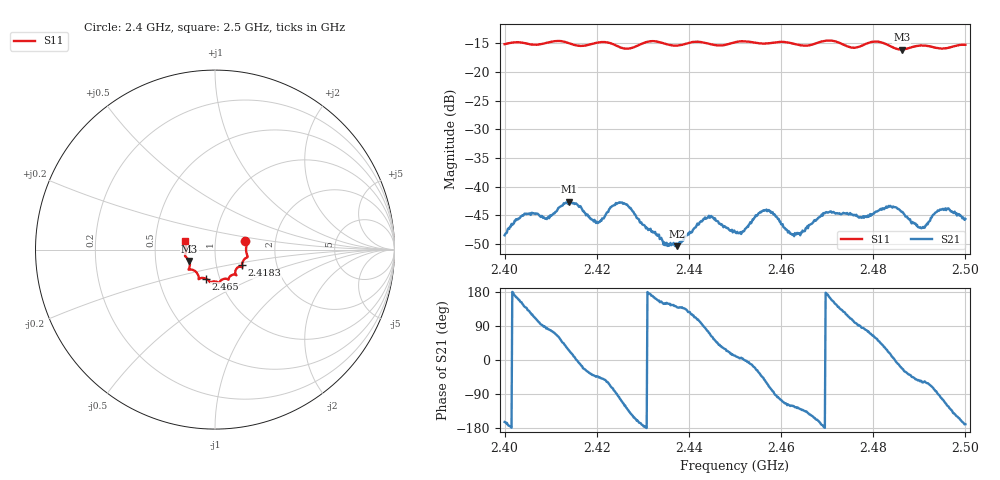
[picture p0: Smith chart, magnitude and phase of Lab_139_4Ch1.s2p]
# Hz S RI R 50
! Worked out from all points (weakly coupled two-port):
!   601 points, 2.4 GHz to 2.5 GHz, reference 50 ohm
!   highest |S21| = -42.65 dB at 2.414 GHz (marker M1); lowest = -50.4 dB at 2.4375 GHz (marker M2)
!   lowest |S11| = -16.1 dB at 2.4862 GHz (marker M3), VSWR 1.37, Z = 37.2 - j4.82 ohm
!   |S11| at or under -10 dB: start of sweep to end of sweep
!   S12 and S22 are empty: the file has one direction only
!   S11 on the Smith chart (normalised r, x): 2.4 GHz: 1.40, +0.14; 2.4183 GHz: 1.33, -0.24; 2.465 GHz: 0.86, -0.29; 2.5 GHz: 0.71, +0.07
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2.4e9  0.1688 0.0469  -0.0036 -0.00107  0 0  0 0
2.404e9  0.178 0.0275  -0.00462 0.0031  0 0  0 0
2.409167e9  0.178 -0.0282  0.000488 0.00517  0 0  0 0
2.414e9  0.1721 -0.0464  0.00669 0.00309  0 0  0 0
2.416667e9  0.1547 -0.0684  0.00626 -0.00169  0 0  0 0
2.418333e9  0.1501 -0.0869  0.00455 -0.00306  0 0  0 0
2.420333e9  0.1517 -0.0991  0.00346 -0.00337  0 0  0 0
2.425667e9  0.1283 -0.0982  -0.0028 -0.0065  0 0  0 0
2.433333e9  0.1175 -0.1409  -0.00344 0.00147  0 0  0 0
2.4375e9  0.0865 -0.1465  -0.00226 0.00199  0 0  0 0
2.4445e9  0.0656 -0.1631  0.0018 0.00502  0 0  0 0
2.45e9  0.0261 -0.1804  0.00396 0.000797  0 0  0 0
2.456833e9  -0.00798 -0.1773  0.00316 -0.00545  0 0  0 0
2.462333e9  -0.0324 -0.1753  -0.00192 -0.0033  0 0  0 0
2.465e9  -0.0526 -0.1617  -0.00283 -0.00293  0 0  0 0
2.466667e9  -0.0714 -0.1577  -0.00398 -0.00256  0 0  0 0
2.470167e9  -0.0912 -0.1649  -0.00586 0.000794  0 0  0 0
2.483333e9  -0.1414 -0.0967  0.00634 0.00239  0 0  0 0
2.486167e9  -0.1439 -0.0633  0.00558 -0.00218  0 0  0 0
2.490167e9  -0.1662 -0.0367  0.00245 -0.00367  0 0  0 0
2.495167e9  -0.1603 0.00524  -0.00168 -0.00616  0 0  0 0
2.5e9  -0.1667 0.0468  -0.00513 -0.000947  0 0  0 0
